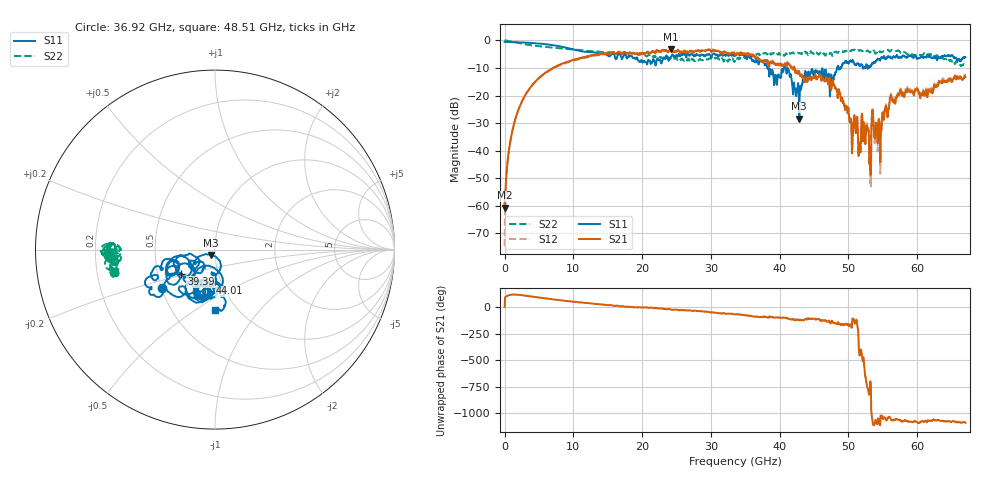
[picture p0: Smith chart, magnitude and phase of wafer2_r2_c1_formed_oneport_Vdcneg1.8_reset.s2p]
!Keysight Technologies,N5227A,US51270248,A.10.65.08
!Date: Tuesday, June 11, 2024 08:13:33
!Correction: S11(Full 2 Port(1,4))
!S41(Full 2 Port(1,4))
!S14(Full 2 Port(1,4))
!S44(Full 2 Port(1,4))
!S2P File: Measurements: S11, S41, S14, S44:
# Hz S  dB  R 50
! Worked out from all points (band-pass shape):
!   3201 points, 10 MHz to 67 GHz, reference 50 ohm
!   highest |S21| = -3.26 dB at 24.19 GHz (marker M1); lowest = -60.6 dB at 72.8 MHz (marker M2)
!   |S21| within 3 dB of the highest: 11.26 GHz to 36.39 GHz (25.13 GHz wide, 105 % of centre); 36.43697 GHz to 36.55916 GHz (122.2 MHz wide, 0.335 % of centre)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
!   lowest |S11| = -28.4 dB at 42.84 GHz (marker M3), VSWR 1.08, Z = 47.6 - j2.82 ohm
!   |S11| at or under -10 dB: 38.36 GHz to 40.6 GHz (2.236 GHz wide, 5.66 % of centre); 40.84 GHz to 41.12 GHz (279.6 MHz wide, 0.682 % of centre); 41.16 GHz to 48.34 GHz (7.18 GHz wide, 16 % of centre)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
!   |S22| runs from -9.3 to 0.0 dB; largest |S21 - S12| = 0.053
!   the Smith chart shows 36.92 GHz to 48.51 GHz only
!   S11 on the Smith chart (normalised r, x): 36.92 GHz: 0.50, -0.25; 39.39 GHz: 0.66, -0.19; 44.01 GHz: 0.88, -0.34; 48.51 GHz: 0.80, -0.61
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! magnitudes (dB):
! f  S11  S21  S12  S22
! 10 MHz  -0.5  -60.0  -74.6  0.0
! 72.8 MHz  -0.5  -60.6  -60.3  0.0
! 407.8 MHz  -0.5  -44.7  -44.6  -0.1
! 805.5 MHz  -0.6  -37.2  -37.1  -0.3
! 2.648 GHz  -0.7  -21.5  -21.6  -1.3
! 11.19 GHz  -3.9  -6.2  -6.6  -3.5
! 22.35 GHz  -7.0  -3.9  -3.9  -6.0
! 24.19 GHz  -5.9  -3.3  -3.3  -6.4
! 33.51 GHz  -5.5  -5.1  -5.0  -7.3
! 36.92 GHz  -8.7  -6.6  -6.9  -4.8
! 39.39 GHz  -12.7  -8.8  -8.7  -4.9
! 40.96 GHz  -11.1  -9.0  -9.0  -4.7
! 42.84 GHz  -28.4  -11.4  -11.2  -4.6
! 44.01 GHz  -14.4  -15.1  -14.6  -4.6
! 44.68 GHz  -10.5  -13.8  -13.5  -4.5
! 47.55 GHz  -12.9  -17.1  -16.7  -4.8
! 48.51 GHz  -9.4  -18.6  -18.3  -4.4
! 50.42 GHz  -7.6  -31.0  -30.2  -3.6
! 52.53 GHz  -9.3  -33.8  -33.1  -4.1
! 52.99 GHz  -9.4  -37.6  -36.8  -4.1
! 55.84 GHz  -5.8  -25.0  -24.6  -3.6
! 67 GHz  -6.1  -13.2  -12.7  -8.6
